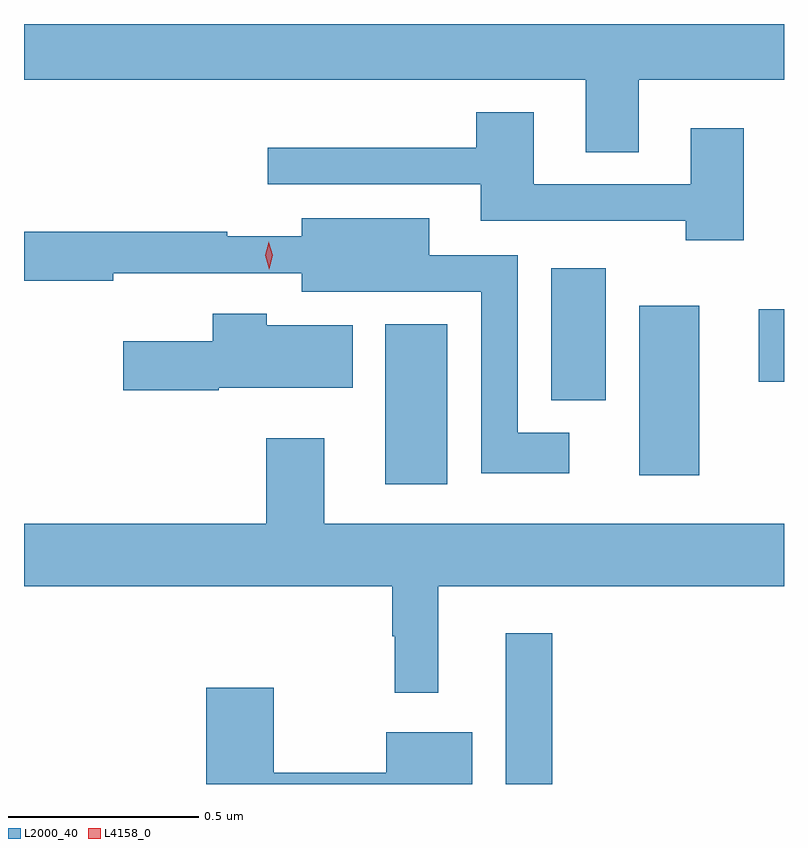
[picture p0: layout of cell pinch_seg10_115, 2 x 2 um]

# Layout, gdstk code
import gdstk
lib = gdstk.Library(unit=1e-6, precision=1e-09)
def R(c, l, rs):  # rectangles x0, y0, x1, y1
    for r in rs: c.add(gdstk.rectangle(r[:2], r[2:], *l))
def P(c, l, *ps):  # polygons
    for p in ps: c.add(gdstk.Polygon(p, *l))
L2000_40 = (2000, 40)
L4158_0 = (4158, 0)

pinch_seg10_115 = lib.new_cell('pinch_seg10_115')
R(pinch_seg10_115, L2000_40, [(665.843,1301.127,665.965,1301.524), (665.525,1301.916,665.689,1302.337), (666.194,1301.94,666.352,1302.385), (665.963,1302.137,666.106,1302.484), (666.509,1302.185,666.575,1302.376)])
P(pinch_seg10_115, L2000_40, [(664.575,1302.98),(666.053,1302.98),(666.053,1302.79),(666.193,1302.79),(666.193,1302.98),(666.575,1302.98),(666.575,1303.127),(664.575,1303.127)],
  [(666.469,1302.853),(666.329,1302.853),(666.329,1302.705),(665.917,1302.705),(665.917,1302.895),(665.765,1302.895),(665.765,1302.802),(665.217,1302.802),(665.217,1302.705),(665.777,1302.705),(665.777,1302.609),(666.317,1302.609),(666.317,1302.558),(666.469,1302.558)],
  [(666.01,1302.052),(665.874,1302.052),(665.874,1302.519),(665.641,1302.519),(665.641,1302.616),(665.306,1302.616),(665.306,1302.568),(665.11,1302.568),(665.11,1302.58),(664.575,1302.58),(664.575,1302.451),(664.81,1302.451),(664.81,1302.471),(665.306,1302.471),(665.306,1302.422),(665.529,1302.422),(665.529,1302.423),(665.778,1302.423),(665.778,1301.945),(666.01,1301.945)],
  [(665.088,1302.17),(665.44,1302.17),(665.44,1302.334),(665.214,1302.334),(665.214,1302.364),(665.072,1302.364),(665.072,1302.292),(664.836,1302.292),(664.836,1302.163),(665.088,1302.163)],
  [(665.665,1301.648),(666.575,1301.648),(666.575,1301.812),(665.365,1301.812),(665.365,1302.037),(665.213,1302.037),(665.213,1301.812),(664.575,1301.812),(664.575,1301.648),(665.544,1301.648),(665.544,1301.516),(665.551,1301.516),(665.551,1301.367),(665.665,1301.367)],
  [(665.755,1301.263),(665.528,1301.263),(665.528,1301.156),(665.232,1301.156),(665.232,1301.38),(665.054,1301.38),(665.054,1301.127),(665.755,1301.127)])
P(pinch_seg10_115, L4158_0, [(665.221,1302.482),(665.221,1302.482),(665.21,1302.518),(665.219,1302.553),(665.219,1302.554),(665.219,1302.553),(665.23,1302.518),(665.221,1302.482)])

lib.write_gds('pinch_seg10_115.gds')
